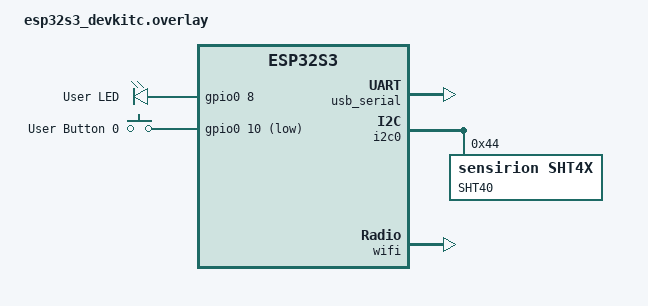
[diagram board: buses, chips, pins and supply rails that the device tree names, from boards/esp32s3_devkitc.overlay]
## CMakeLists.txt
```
cmake_minimum_required(VERSION 3.13.1)
# set(BOARD esp32s3)
find_package(Zephyr REQUIRED HINTS $ENV{ZEPHYR_BASE})
project(esp32s3_demo_edgeimpulse LANGUAGES C)
target_sources(app PRIVATE
    src/main.c
    src/wifi.c
)
```

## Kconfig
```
# Copyright (c) 2021 Nordic Semiconductor ASA
# SPDX-License-Identifier: Apache-2.0
#
# This file is the application Kconfig entry point. All application Kconfig
# options can be defined here or included via other application Kconfig files.
# You can browse these options using the west targets menuconfig (terminal) or
# guiconfig (GUI).

menu "Zephyr"
source "Kconfig.zephyr"
endmenu

module = APP
module-str = APP
source "subsys/logging/Kconfig.template.log_config"


# New: application-specific options
menu "Application options"
config BLINK
    bool "Enable blink logic"
    default y
    help
      Enable the LED blink loop in the application.
endmenu
```

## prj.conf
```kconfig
# esp32s3_demo/prj.conf
CONFIG_BLINK=y
CONFIG_GPIO=y
CONFIG_LOG=y
CONFIG_LOG_DEFAULT_LEVEL=3
CONFIG_MAIN_STACK_SIZE=8192

# Comms
CONFIG_CONSOLE=y
CONFIG_UART_CONSOLE=y
CONFIG_SERIAL=y
CONFIG_STDOUT_CONSOLE=y

# For debug
CONFIG_DEBUG=y
CONFIG_DEBUG_THREAD_INFO=y
CONFIG_ASSERT=y

# sensors and I2C
CONFIG_I2C=y
CONFIG_SENSOR=y
CONFIG_SHT4X=y

CONFIG_CBPRINTF_FP_SUPPORT=y
CONFIG_CBPRINTF_NANO=n

# --- Networking core ---
# Remove color codes in log output
CONFIG_LOG_MODE_MINIMAL=y

# Increase stack memory to avoid crashes
# (override above; keep in sync)
CONFIG_MAIN_STACK_SIZE=8192

# Enable WiFi and networking
CONFIG_WIFI=y
CONFIG_NETWORKING=y
CONFIG_NET_L2_WIFI_MGMT=y
CONFIG_INIT_STACKS=y

CONFIG_NET_IPV4=y
CONFIG_NET_IPV6=y
CONFIG_NET_TCP=y
CONFIG_NET_SOCKETS=y

# Static IPv4 configuration (match Zephyr_WiFi example)
CONFIG_NET_CONFIG_SETTINGS=y
CONFIG_NET_CONFIG_NEED_IPV4=y
CONFIG_NET_CONFIG_MY_IPV4_ADDR="192.168.1.208"
CONFIG_NET_CONFIG_MY_IPV4_NETMASK="255.255.255.0"
CONFIG_NET_CONFIG_MY_IPV4_GW="192.168.1.254"

# DNS configuration (router as DNS server)
CONFIG_DNS_RESOLVER=y
CONFIG_DNS_SERVER_IP_ADDRESSES=y
CONFIG_DNS_SERVER1="192.168.1.254"
CONFIG_DNS_RESOLVER_AI_MAX_ENTRIES=10

# Network bring-up timeout (seconds)
CONFIG_NET_CONFIG_INIT_TIMEOUT=5

# Networking stacks and buffers (match Zephyr_WiFi)
CONFIG_NET_TX_STACK_SIZE=2048
CONFIG_NET_RX_STACK_SIZE=2048

CONFIG_NET_PKT_RX_COUNT=10
CONFIG_NET_PKT_TX_COUNT=10

CONFIG_NET_BUF_RX_COUNT=20
CONFIG_NET_BUF_TX_COUNT=20

CONFIG_NET_MAX_CONTEXTS=10

# No DHCP in this static example
# CONFIG_NET_DHCPV4 is not set

# Network debug config
CONFIG_NET_LOG=y

# Enable Ethernet (required for WiFi)
CONFIG_NET_L2_ETHERNET=y


CONFIG_ESP_SPIRAM=n
```

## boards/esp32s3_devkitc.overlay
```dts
/*
 * Board overlay for ESP32-S3 Zephyr demo
 *
 * This file:
 *  - Routes the Zephyr console (printk / printf) to the on-chip USB Serial/JTAG
 *  - Defines aliases for LED, button, and SHT40 sensor
 *  - Declares a GPIO-controlled LED
 *  - Declares a GPIO button with internal pull-up (active low)
 *  - Enables I2C0 and attaches an SHT40 temperature/humidity sensor
 */

#include <zephyr/dt-bindings/gpio/gpio.h>

 / {
    /*
     * The "chosen" node tells Zephyr which hardware to use for certain
     * core subsystems (console, shell, etc).
     *
     * Here we direct both the console and shell to the USB Serial/JTAG
     * interface provided by the ESP32-S3. This is what appears as a
     * USB CDC COM port on the host (e.g. COM12 on Windows).
     */
    chosen {
        /* zephyr,console tells Zephyr where printk() and printf() go. */
        zephyr,console = &usb_serial;

        /*
         * zephyr,shell-uart is optional, but useful if/when you enable
         * the Zephyr shell. It routes the shell I/O over the same USB
         * serial interface instead of a separate UART.
         */
        zephyr,shell-uart = &usb_serial;
    };

    /*
     * "aliases" define convenient labels that application code can use
     * via DT_ALIAS(...) and DT_ALIAS_NODE() macros.
     *
     * In your C code you use:
     *   #define LED0_NODE DT_ALIAS(led0)
     *   #define SW0_NODE  DT_ALIAS(sw0)
     *   #define THS0_NODE DT_ALIAS(ths0)
     *
     * These map those names to the actual nodes declared below.
     */
    aliases {
        led0 = &onboard_led;     /* Used by LED0_NODE in the app */
        sw0  = &user_button0;    /* Used by SW0_NODE in the app */
        ths0 = &sht40_sensor;    /* Used by THS0_NODE in the app */
    };

    /*
     * "leds" container describes all LED devices on the board that are
     * controlled via GPIOs.
     *
     * compatible = "gpio-leds" tells Zephyr to use the generic GPIO LED
     * driver, so individual child nodes act as separate LEDs.
     */
    leds {
        compatible = "gpio-leds";

        /*
         * onboard_led:
         *   - Label "User LED" is just a human-readable name.
         *   - gpios property encodes:
         *       &gpio0       -> GPIO controller device (port 0)
         *       8            -> pin number (GPIO0_8)
         *       GPIO_ACTIVE_HIGH -> LED is on when pin is high
         *
         * This node is referenced by the "led0" alias above.
         */
        onboard_led: led_0 {
            gpios = <&gpio0 8 GPIO_ACTIVE_HIGH>;
            label = "User LED";
        };
    };

    /*
     * "gpio_keys" describes buttons or keys connected via GPIO.
     *
     * compatible = "gpio-keys" tells Zephyr to treat each child as a
     * simple momentary button/key with an associated GPIO.
     */
    gpio_keys {
        compatible = "gpio-keys";

        /*
         * user_button0:
         *   - gpios encodes:
         *       &gpio0         -> GPIO controller device (port 0)
         *       10             -> pin number (GPIO0_10)
         *       GPIO_PULL_UP   -> enable internal pull-up resistor
         *       GPIO_ACTIVE_LOW-> pressed = logic 0 (line pulled low)
         *
         *   - This assumes the button is wired between GPIO10 and GND:
         *       idle: pull-up keeps the line high (button released)
         *       pressed: line is shorted to GND, reads low (active)
         *
         * The "sw0" alias points to this node, which your code uses.
         */
        user_button0: button_0 {
            gpios = <&gpio0 10 (GPIO_PULL_UP | GPIO_ACTIVE_LOW)>;
            label = "User Button 0";
        };
    };
};

/*
 * &usb_serial:
 *
 * This is a reference to an existing node defined in the base board
 * devicetree describing the on-chip USB Serial/JTAG peripheral.
 *
 * By setting status = "okay" we tell Zephyr to enable it as a device.
 * Combined with zephyr,console = &usb_serial above, this makes printk
 * output appear on the USB CDC COM port on your host.
 */
&usb_serial {
    status = "okay";
};

/*
 * &i2c0:
 *
 * This references the I2C controller node defined by the base board
 * devicetree. Setting status = "okay" turns the peripheral on, and
 * child nodes describe the devices attached to that I2C bus.
 */
&i2c0 {
    status = "okay";

    /*
     * sht40_sensor:
     *
     * Child node on the I2C0 bus representing a Sensirion SHT40 sensor.
     *
     *  compatible   : binds this node to the SHT4x driver.
     *  reg          : the I2C address (0x44 in this case).
     *  label        : human-readable name, used by logging/tools.
     *  repeatability: device-specific configuration (0,1,2 = low/med/high).
     *  status       : "okay" means this sensor is present/enabled.
     *
     * The "ths0" alias points to this sensor, and your C code uses
     * DEVICE_DT_GET(THS0_NODE) to get a handle to it.
     */
    sht40_sensor: sht40@44 {
        compatible = "sensirion,sht4x";
        reg = <0x44>;
        label = "SHT40";
        repeatability = <2>;  /* 0 = low, 1 = medium, 2 = high repeatability */
        status = "okay";
    };
};

/*
 * Enable the on-chip Wi-Fi peripheral.
 * The base DTS defines a &wifi node; here we just turn it on.
 */
&wifi {
    status = "okay";
};
```

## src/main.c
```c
#include <zephyr/kernel.h>
#include <zephyr/drivers/gpio.h>
#include <zephyr/drivers/sensor.h>
#include <zephyr/sys/printk.h>
#include <time.h>
#include <string.h>
#include <errno.h>

#include <zephyr/net/socket.h>

#include "wifi.h"
#include "ei_config.h"

/* Devicetree aliases from overlay */
#define LED0_NODE DT_ALIAS(led0)
#define SW0_NODE  DT_ALIAS(sw0)
#define THS0_NODE DT_ALIAS(ths0)

#if !DT_NODE_HAS_STATUS(LED0_NODE, okay)
#error "No alias 'led0' in devicetree; check overlay."
#endif

#if !DT_NODE_HAS_STATUS(SW0_NODE, okay)
#error "No alias 'sw0' in devicetree; check overlay."
#endif

#if !DT_NODE_HAS_STATUS(THS0_NODE, okay)
#error "No alias 'ths0' in devicetree; check overlay."
#endif

static const struct gpio_dt_spec led =
    GPIO_DT_SPEC_GET(LED0_NODE, gpios);

static const struct gpio_dt_spec button =
    GPIO_DT_SPEC_GET(SW0_NODE, gpios);

static const struct device *const ths_dev =
    DEVICE_DT_GET(THS0_NODE);

/* --------------------------------------------------------------------------
 * Sampling / upload configuration
 * -------------------------------------------------------------------------- */

/* Sampling settings.
 * One sample per upload; sampling interval defines samples/hour.
 * With the current interval this yields ~10 uploads per hour.
 */
#define SAMPLES_PER_HOUR          1
#define SAMPLE_INTERVAL_MS        (360U * 1000U)    /* 6 minutes */

/* Edge Impulse ingestion endpoint (HTTP) */
#define EI_INGEST_HOST            "ingestion.edgeimpulse.com"
#define EI_INGEST_PORT            "80"
#define EI_INGEST_PATH            "/api/training/data"
#define EI_DEVICE_NAME            "esp32s3-zephyr"
#define EI_DEVICE_TYPE            "ESP32S3"

struct sample_entry {
    uint32_t t_ms;
    double   temp_c;
    double   hum_pct;
};

static struct sample_entry samples[SAMPLES_PER_HOUR];
static int sample_count = 0;

/* HTTP buffers kept static to avoid large stack frames */
static char ei_body[2048];
static char ei_req[4096];

/* --------------------------------------------------------------------------
 * Label + JSON builder
 * -------------------------------------------------------------------------- */

static void make_label(char *buf, size_t len)
{
    time_t now = time(NULL);
    struct tm tm_buf;
    struct tm *tm = NULL;

    if (now != (time_t)-1) {
        tm = gmtime_r(&now, &tm_buf);
    }

    /* If RTC time is not set (e.g. still 1970),
     * fall back to an uptime-based session label.
     */
    if (!tm || (tm->tm_year + 1900) < 2020) {
        uint32_t up_s = k_uptime_get_32() / 1000U;
        snprintk(buf, len, "esp32s3_session_%u", up_s);
        return;
    }

    static const char *wdays[] = {
        "Sun","Mon","Tue","Wed","Thu","Fri","Sat"
    };
    const char *wday = "Day";
    if (tm->tm_wday >= 0 && tm->tm_wday < 7) {
        wday = wdays[tm->tm_wday];
    }

    snprintk(buf, len, "%s_%04d-%02d-%02d_%02d-%02d-%02d",
             wday,
             tm->tm_year + 1900,
             tm->tm_mon + 1,
             tm->tm_mday,
             tm->tm_hour,
             tm->tm_min,
             tm->tm_sec);
}

static void flash_led_quick(void)
{
    gpio_pin_set_dt(&led, 1);
    k_sleep(K_MSEC(200));
    gpio_pin_set_dt(&led, 0);
}

static int build_ei_json(char *out, size_t out_size,
                         const struct sample_entry *buf,
                         int count)
{
    int len = 0;
    int rem = (int)out_size;

    len = snprintk(out, rem,
                   "{"
                   "\"protected\":{"
                     "\"ver\":\"v1\","
                     "\"alg\":\"none\","
                     "\"iat\":0"
                   "},"
                   "\"signature\":\"0\","
                   "\"payload\":{"
                     "\"device_name\":\"%s\","
                     "\"device_type\":\"%s\","
                     "\"interval_ms\":%u,"
                     "\"sensors\":["
                       "{\"name\":\"temp\",\"units\":\"C\"},"
                       "{\"name\":\"hum\",\"units\":\"%%\"}"
                     "],"
                     "\"values\":[",
                   EI_DEVICE_NAME,
                   EI_DEVICE_TYPE,
                   SAMPLE_INTERVAL_MS);
    if (len < 0 || len >= rem) {
        return -1;
    }
    rem -= len;

    for (int i = 0; i < count; i++) {
        int n = snprintk(out + len, rem,
                         "[%.5f,%.5f]%s",
                         buf[i].temp_c,
                         buf[i].hum_pct,
                         (i == count - 1) ? "" : ",");
        if (n < 0 || n >= rem) {
            return -1;
        }
        len += n;
        rem -= n;
    }

    int n = snprintk(out + len, rem, "]}}");
    if (n < 0 || n >= rem) {
        return -1;
    }
    len += n;
    return len;
}

static int upload_to_edge_impulse(const struct sample_entry *buf,
                                  int count,
                                  const char *label)
{
    printk("Uploading %d samples to Edge Impulse with label '%s'\n",
           count, label);

    int body_len = build_ei_json(ei_body, sizeof(ei_body), buf, count);
    if (body_len < 0) {
        printk("Failed to build JSON body\n");
        return -1;
    }

    struct zsock_addrinfo hints;
    struct zsock_addrinfo *res = NULL;
    memset(&hints, 0, sizeof(hints));

    hints.ai_family   = AF_INET;
    hints.ai_socktype = SOCK_STREAM;

    int err = zsock_getaddrinfo(EI_INGEST_HOST, EI_INGEST_PORT,
                                &hints, &res);
    if (err != 0 || res == NULL) {
        printk("zsock_getaddrinfo failed: %d\n", err);
        if (res) {
            zsock_freeaddrinfo(res);
        }
        return -1;
    }

    int sock = zsock_socket(res->ai_family, res->ai_socktype, res->ai_protocol);
    if (sock < 0) {
        printk("zsock_socket() failed: %d\n", errno);
        zsock_freeaddrinfo(res);
        return -1;
    }

    if (zsock_connect(sock, res->ai_addr, res->ai_addrlen) < 0) {
        printk("zsock_connect() failed: %d\n", errno);
        zsock_close(sock);
        zsock_freeaddrinfo(res);
        return -1;
    }

    zsock_freeaddrinfo(res);

    int req_len = snprintk(ei_req, sizeof(ei_req),
                           "POST " EI_INGEST_PATH " HTTP/1.1\r\n"
                           "Host: " EI_INGEST_HOST "\r\n"
                           "Connection: close\r\n"
                           "x-api-key: " EI_API_KEY "\r\n"
                           "x-label: %s\r\n"
                           "x-file-name: %s.json\r\n"
                           "Content-Type: application/json\r\n"
                           "Content-Length: %d\r\n"
                           "\r\n",
                           label, label, body_len);
    if (req_len < 0 || req_len >= (int)sizeof(ei_req)) {
        printk("Failed to build HTTP headers\n");
        zsock_close(sock);
        return -1;
    }

    int sent = zsock_send(sock, ei_req, req_len, 0);
    if (sent != req_len) {
        printk("Failed to send HTTP headers (sent=%d, expected=%d)\n",
               sent, req_len);
        zsock_close(sock);
        return -1;
    }

    sent = zsock_send(sock, ei_body, body_len, 0);
    if (sent != body_len) {
        printk("Failed to send HTTP body (sent=%d, expected=%d)\n",
               sent, body_len);
        zsock_close(sock);
        return -1;
    }

    char resp[256];
    int r;

    while ((r = zsock_recv(sock, resp, sizeof(resp) - 1, 0)) > 0) {
        resp[r] = '\0';
        printk("EI chunk: %s\n", resp);
    }

    if (r <= 0) {
        printk("EI recv completed with r=%d\n", r);
    }

    zsock_close(sock);
    return 0;
}

/* --------------------------------------------------------------------------
 * Main
 * -------------------------------------------------------------------------- */

int main(void)
{
    int ret;

    printk("Edge Impulse ESP32S3 temp/humidity logger starting\n");

    if (!device_is_ready(led.port) ||
        !device_is_ready(button.port) ||
        !device_is_ready(ths_dev)) {
        printk("Devices not ready\n");
        return 0;
    }

    ret = gpio_pin_configure_dt(&led, GPIO_OUTPUT_INACTIVE);
    if (ret != 0) {
        printk("Failed to configure LED: %d\n", ret);
        return 0;
    }

    ret = gpio_pin_configure_dt(&button, GPIO_INPUT);
    if (ret != 0) {
        printk("Failed to configure button: %d\n", ret);
        return 0;
    }

    /* Startup indication: flash LED twice */
    gpio_pin_set_dt(&led, 1);
    k_sleep(K_SECONDS(1));
    gpio_pin_set_dt(&led, 0);
    k_sleep(K_SECONDS(1));
    gpio_pin_set_dt(&led, 1);
    k_sleep(K_SECONDS(1));
    gpio_pin_set_dt(&led, 0);

    /* Idle state: LED ON when *not* sampling */
    gpio_pin_set_dt(&led, 1);

    /* Bring up Wi-Fi using your known-good helpers, but don’t block the app forever */
    wifi_init();
    printk("Connecting to WiFi SSID='%s'...\n", WIFI_SSID);
    ret = wifi_connect(WIFI_SSID, WIFI_PASS);
    if (ret < 0) {
        printk("WiFi connection failed (%d), uploads will fail but sampling will still run\n", ret);
    } else {
        printk("WiFi connect() returned %d, waiting for IP...\n", ret);
        wifi_wait_for_ip_addr();
        printk("WiFi ready, continuing.\n");
        printk("Sampling will auto-start; button toggles on/off.\n");
    }

    bool last_pressed = false;
    bool sampling_enabled = true;   /* auto-start sampling for bring-up */
    uint32_t last_sample_ms = 0;

    while (1) {
        int val = gpio_pin_get_dt(&button);
        if (val >= 0) {
            bool pressed = (val == 0); /* active low */

            if (pressed && !last_pressed) {
                printk("Button press edge detected (sampling=%d)\n",
                       sampling_enabled ? 1 : 0);

                if (!sampling_enabled) {
                    sampling_enabled = true;
                    sample_count = 0;
                    last_sample_ms = k_uptime_get_32();
                    gpio_pin_set_dt(&led, 0);  /* LED off while sampling */
                    printk("Sampling started (button)\n");
                } else {
                    sampling_enabled = false;
                    gpio_pin_set_dt(&led, 1);  /* LED on when stopped */
                    printk("Sampling stopped (button)\n");
                }
            }

            last_pressed = pressed;
        }

        if (sampling_enabled) {
            uint32_t now_ms = k_uptime_get_32();

            /* Take a sample only once per interval */
            if ((now_ms - last_sample_ms) >= SAMPLE_INTERVAL_MS) {

                struct sensor_value temp, hum;

                ret = sensor_sample_fetch(ths_dev);
                if (ret == 0) {
                    ret = sensor_channel_get(ths_dev,
                                             SENSOR_CHAN_AMBIENT_TEMP,
                                             &temp);
                }
                if (ret == 0) {
                    ret = sensor_channel_get(ths_dev,
                                             SENSOR_CHAN_HUMIDITY,
                                             &hum);
                }

                if (ret == 0 && sample_count < SAMPLES_PER_HOUR) {
                    double temp_c = sensor_value_to_double(&temp);
                    double hum_pct = sensor_value_to_double(&hum);

                    samples[sample_count].t_ms    = now_ms;
                    samples[sample_count].temp_c  = temp_c;
                    samples[sample_count].hum_pct = hum_pct;
                    sample_count++;

                    last_sample_ms = now_ms;

                    printk("Sample %d: T=%.2f C, RH=%.2f %%\n",
                           sample_count, temp_c, hum_pct);
                }

                if (sample_count >= SAMPLES_PER_HOUR) {
                    char label[64];
                    make_label(label, sizeof(label));

                    int up_ret = upload_to_edge_impulse(samples,
                                                        sample_count,
                                                        label);

                    printk("Upload done (ret=%d), label='%s'\n",
                           up_ret, label);

                    flash_led_quick();

                    sample_count = 0;
                    last_sample_ms = k_uptime_get_32();
                }
            }
        }

        k_msleep(100);
    }

    return 0;
}
```

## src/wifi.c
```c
#include <string.h>
#include <zephyr/kernel.h>
#include <zephyr/net/net_if.h>
#include <zephyr/net/net_event.h>
#include <zephyr/net/net_ip.h>
#include <zephyr/net/wifi_mgmt.h>

/* Semaphore signalled when Wi-Fi connect result arrives */
static K_SEM_DEFINE(wifi_connected, 0, 1);

/* Wi-Fi management callback */
static struct net_mgmt_event_callback wifi_cb;

/* Last connection status from driver (0 = OK, otherwise error code) */
static int wifi_connect_result = -1;

/* --------------------------- Event handler helpers -------------------------- */
static void handle_wifi_connect_result(struct net_mgmt_event_callback *cb)
{
    const struct wifi_status *status = (const struct wifi_status *)cb->info;
    int s = status ? status->status : -1;

    wifi_connect_result = s;

    if (s) {
        printk("WiFi connect result: error=%d\n", s);
    } else {
        printk("WiFi connect result: success\n");
    }

    k_sem_give(&wifi_connected);
}

static void handle_wifi_disconnect_result(struct net_mgmt_event_callback *cb)
{
    const struct wifi_status *status = (const struct wifi_status *)cb->info;
    int s = status ? status->status : 0;

    if (s) {
        printk("WiFi disconnect result: error=%d\n", s);
    } else {
        printk("WiFi disconnected\n");
        k_sem_take(&wifi_connected, K_NO_WAIT);
    }
}

/* Single net-mgmt event handler, like Zephyr_WiFi */
static void wifi_mgmt_event_handler(struct net_mgmt_event_callback *cb,
                                    uint64_t mgmt_event,
                                    struct net_if *iface)
{
    switch (mgmt_event) {
    case NET_EVENT_WIFI_CONNECT_RESULT:
        handle_wifi_connect_result(cb);
        break;
    case NET_EVENT_WIFI_DISCONNECT_RESULT:
        handle_wifi_disconnect_result(cb);
        break;
    default:
        break;
    }
}

/* Initialize Wi-Fi management callbacks */
void wifi_init(void)
{
    net_mgmt_init_event_callback(&wifi_cb,
                                 wifi_mgmt_event_handler,
                                 NET_EVENT_WIFI_CONNECT_RESULT |
                                 NET_EVENT_WIFI_DISCONNECT_RESULT);
    net_mgmt_add_event_callback(&wifi_cb);
}

int wifi_connect(char *ssid, char *psk)
{
    int ret;
    struct net_if *iface;
    struct wifi_connect_req_params params;

    iface = net_if_get_default();

    memset(&params, 0, sizeof(params));
    params.ssid = (const uint8_t *)ssid;
    params.ssid_length = strlen(ssid);
    params.psk = (const uint8_t *)psk;
    params.psk_length = strlen(psk);
    params.security = WIFI_SECURITY_TYPE_PSK;
    params.band = WIFI_FREQ_BAND_2_4_GHZ;
    params.channel = WIFI_CHANNEL_ANY;
    params.mfp = WIFI_MFP_OPTIONAL;

    wifi_connect_result = -1;

    ret = net_mgmt(NET_REQUEST_WIFI_CONNECT,
                   iface,
                   &params,
                   sizeof(params));
    if (ret) {
        printk("net_mgmt WIFI_CONNECT failed immediately: %d\n", ret);
        return ret;
    }

    /* Wait up to 15 seconds for connect result event */
    if (k_sem_take(&wifi_connected, K_SECONDS(15)) != 0) {
        printk("Timeout waiting for WiFi connect result\n");
        return -ETIMEDOUT;
    }

    if (wifi_connect_result != 0) {
        printk("WiFi connect failed with status=%d\n", wifi_connect_result);
        return -wifi_connect_result;
    }

    return 0;
}

/* Static IPv4 info print, similar to Zephyr_WiFi */
void wifi_wait_for_ip_addr(void)
{
    struct net_if *iface = net_if_get_default();
    struct net_if_ipv4 *ipv4 = iface->config.ip.ipv4;

    char buf[NET_IPV4_ADDR_LEN];

    for (int i = 0; i < NET_IF_MAX_IPV4_ADDR; i++) {
        if (ipv4->unicast[i].ipv4.addr_type != NET_ADDR_MANUAL) {
            continue;
        }
        if (net_ipv4_is_addr_unspecified(&ipv4->unicast[i].ipv4.address.in_addr)) {
            continue;
        }

        printk("IPv4 address (Static): %s\n",
               net_addr_ntop(AF_INET,
                             &ipv4->unicast[i].ipv4.address.in_addr,
                             buf, sizeof(buf)));

        printk("Subnet: %s\n",
               net_addr_ntop(AF_INET,
                             &ipv4->unicast[i].netmask,
                             buf, sizeof(buf)));

        printk("Router: %s\n",
               net_addr_ntop(AF_INET,
                             &ipv4->gw,
                             buf, sizeof(buf)));
    }
}

// Disconnect from the WiFi network
int wifi_disconnect(void)
{
    int ret;
    struct net_if *iface = net_if_get_default();

    ret = net_mgmt(NET_REQUEST_WIFI_DISCONNECT, iface, NULL, 0);

    return ret;
}
```

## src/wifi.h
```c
#ifndef WIFI_H_
#define WIFI_H_

// Function prototypes
void wifi_init(void);
int wifi_connect(char *ssid, char *psk);
void wifi_wait_for_ip_addr(void);
int wifi_disconnect(void);

#endif // WIFI_H_
```
